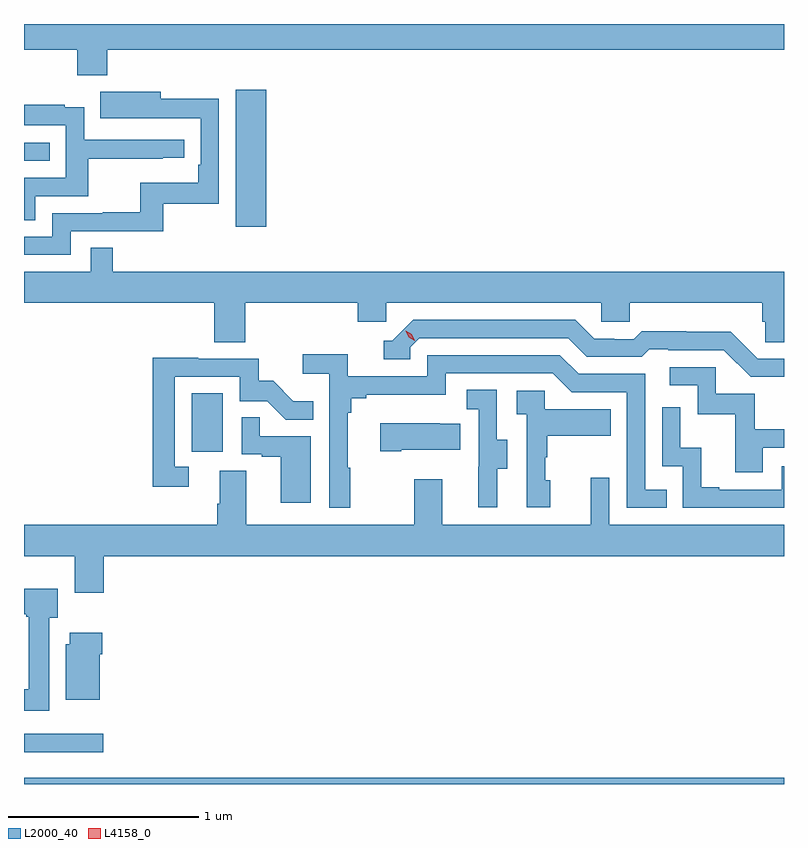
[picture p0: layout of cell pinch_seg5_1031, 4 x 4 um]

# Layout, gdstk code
import gdstk
lib = gdstk.Library(unit=1e-6, precision=1e-09)
def R(c, l, rs):  # rectangles x0, y0, x1, y1
    for r in rs: c.add(gdstk.rectangle(r[:2], r[2:], *l))
def P(c, l, *ps):  # polygons
    for p in ps: c.add(gdstk.Polygon(p, *l))
L2000_40 = (2000, 40)
L4158_0 = (4158, 0)

pinch_seg5_1031 = lib.new_cell('pinch_seg5_1031')
R(pinch_seg5_1031, L2000_40, [(852.415,858.224,856.415,858.256), (852.415,858.392,852.832,858.489), (853.298,859.974,853.462,860.281), (853.529,861.156,853.69,861.877), (852.415,861.504,852.551,861.6)])
P(pinch_seg5_1031, L2000_40, [(852.854,862.088),(856.415,862.088),(856.415,862.224),(852.415,862.224),(852.415,862.088),(852.694,862.088),(852.694,861.953),(852.854,861.953)],
  [(852.66,861.132),(853.147,861.132),(853.147,861.279),(853.44,861.279),(853.44,861.83),(853.135,861.83),(853.135,861.868),(852.817,861.868),(852.817,861.728),(853.031,861.728),(853.031,861.729),(853.344,861.729),(853.344,861.484),(853.331,861.484),(853.331,861.388),(853.026,861.388),(853.026,861.233),(852.829,861.233),(852.829,861.228),(852.564,861.228),(852.564,861.105),(852.415,861.105),(852.415,861.009),(852.66,861.009)],
  [(852.475,861.318),(852.752,861.318),(852.752,861.514),(853.145,861.514),(853.145,861.519),(853.258,861.519),(853.258,861.615),(852.732,861.615),(852.732,861.787),(852.629,861.787),(852.629,861.799),(852.415,861.799),(852.415,861.69),(852.636,861.69),(852.636,861.414),(852.415,861.414),(852.415,861.19),(852.475,861.19)],
  [(853.58,860.756),(854.171,860.756),(854.171,860.658),(854.322,860.658),(854.322,860.756),(855.453,860.756),(855.453,860.658),(855.603,860.658),(855.603,860.756),(856.301,860.756),(856.301,860.658),(856.315,860.658),(856.315,860.548),(856.415,860.548),(856.415,860.92),(852.881,860.92),(852.881,861.047),(852.765,861.047),(852.765,860.92),(852.415,860.92),(852.415,860.756),(853.415,860.756),(853.415,860.548),(853.58,860.548)],
  [(856.415,860.463),(856.278,860.463),(856.136,860.605),(855.9,860.605),(855.9,860.608),(855.667,860.608),(855.625,860.565),(855.522,860.565),(855.522,860.568),(855.415,860.568),(855.316,860.667),(854.463,860.667),(854.352,860.556),(854.309,860.556),(854.309,860.46),(854.448,860.46),(854.448,860.523),(854.496,860.571),(855.279,860.571),(855.378,860.472),(855.667,860.472),(855.706,860.511),(855.805,860.511),(855.805,860.508),(856.098,860.508),(856.239,860.367),(856.415,860.367)],
  [(854.131,859.889),(854.119,859.889),(854.119,860.177),(854.138,860.177),(854.138,860.254),(854.215,860.254),(854.215,860.273),(854.634,860.273),(854.634,860.385),(855.198,860.385),(855.297,860.286),(855.588,860.286),(855.588,859.677),(855.797,859.677),(855.797,859.773),(855.684,859.773),(855.684,860.382),(855.334,860.382),(855.235,860.481),(854.538,860.481),(854.538,860.37),(854.12,860.37),(854.12,860.486),(853.881,860.486),(853.881,860.384),(854.022,860.384),(854.022,859.677),(854.131,859.677)],
  [(853.282,859.893),(853.209,859.893),(853.209,860.367),(853.551,860.367),(853.551,860.238),(853.695,860.238),(853.793,860.14),(853.937,860.14),(853.937,860.239),(853.833,860.239),(853.726,860.346),(853.65,860.346),(853.65,860.463),(853.331,860.463),(853.331,860.468),(853.093,860.468),(853.093,859.788),(853.282,859.788)],
  [(856.303,859.995),(856.415,859.995),(856.415,860.091),(856.261,860.091),(856.261,860.277),(856.056,860.277),(856.056,860.418),(855.813,860.418),(855.813,860.322),(855.96,860.322),(855.96,860.169),(856.159,860.169),(856.159,859.866),(856.303,859.866)],
  [(854.905,859.882),(854.959,859.882),(854.959,860.037),(854.904,860.037),(854.904,860.3),(854.745,860.3),(854.745,860.197),(854.808,860.197),(854.808,859.893),(854.807,859.893),(854.807,859.68),(854.905,859.68)],
  [(855.184,859.824),(855.159,859.824),(855.159,859.943),(855.169,859.943),(855.169,860.057),(855.503,860.057),(855.503,860.197),(855.156,860.197),(855.156,860.295),(855.009,860.295),(855.009,860.171),(855.06,860.171),(855.06,859.68),(855.184,859.68)],
  [(856.415,859.896),(856.404,859.896),(856.404,859.773),(856.075,859.773),(856.075,859.786),(855.98,859.786),(855.98,859.994),(855.87,859.994),(855.87,860.206),(855.774,860.206),(855.774,859.896),(855.882,859.896),(855.882,859.677),(856.415,859.677)],
  [(853.924,860.055),(853.655,860.055),(853.655,860.153),(853.56,860.153),(853.56,859.959),(853.667,859.959),(853.667,859.947),(853.766,859.947),(853.766,859.704),(853.924,859.704)],
  [(854.401,859.982),(854.711,859.982),(854.711,860.119),(854.603,860.119),(854.603,860.122),(854.289,860.122),(854.289,859.975),(854.401,859.975)],
  [(852.836,859.424),(856.415,859.424),(856.415,859.588),(855.495,859.588),(855.495,859.837),(855.398,859.837),(855.398,859.588),(854.617,859.588),(854.617,859.828),(854.47,859.828),(854.47,859.588),(853.585,859.588),(853.585,859.874),(853.445,859.874),(853.445,859.7),(853.433,859.7),(853.433,859.588),(852.415,859.588),(852.415,859.424),(852.683,859.424),(852.683,859.23),(852.836,859.23)],
  [(852.547,859.098),(852.592,859.098),(852.592,859.252),(852.415,859.252),(852.415,859.118),(852.427,859.118),(852.427,859.105),(852.44,859.105),(852.44,858.722),(852.415,858.722),(852.415,858.609),(852.547,858.609)],
  [(852.814,858.908),(852.827,858.908),(852.827,859.021),(852.656,859.021),(852.656,858.96),(852.635,858.96),(852.635,858.668),(852.814,858.668)])
P(pinch_seg5_1031, L4158_0, [(854.472,860.557),(854.441,860.576),(854.425,860.609),(854.425,860.609),(854.425,860.609),(854.456,860.59),(854.472,860.557),(854.472,860.557)])

lib.write_gds('pinch_seg5_1031.gds')
